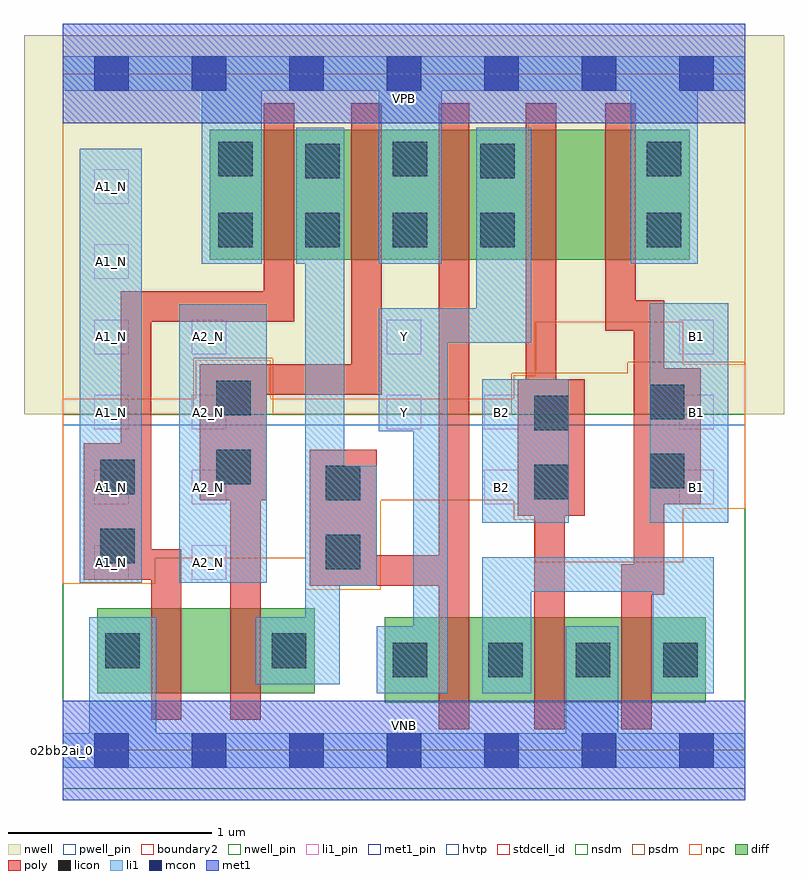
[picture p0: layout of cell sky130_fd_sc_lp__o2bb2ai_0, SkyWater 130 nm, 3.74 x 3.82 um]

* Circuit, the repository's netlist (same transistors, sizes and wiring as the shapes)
* Copyright 2020 The SkyWater PDK Authors
*
* Licensed under the Apache License, Version 2.0 (the "License");
* you may not use this file except in compliance with the License.
* You may obtain a copy of the License at
*
*     https://www.apache.org/licenses/LICENSE-2.0
*
* Unless required by applicable law or agreed to in writing, software
* distributed under the License is distributed on an "AS IS" BASIS,
* WITHOUT WARRANTIES OR CONDITIONS OF ANY KIND, either express or implied.
* See the License for the specific language governing permissions and
* limitations under the License.
*
* SPDX-License-Identifier: Apache-2.0

.SUBCKT sky130_fd_sc_lp__o2bb2ai_0 A1_N A2_N B1 B2 VGND VNB VPB VPWR Y
*.PININFO A1_N:I A2_N:I B1:I B2:I VGND:I VNB:I VPB:I VPWR:I Y:O
MMNnand0 VGND A1_N sndNA1N VNB sky130_fd_pr__nfet_01v8 m=1 w=0.42U l=0.15U mult=1
+ sa=0.265 sb=0.265 sd=0.28 area=0.063 perim=1.14
MMNnand1 sndNA1N A2_N inand VNB sky130_fd_pr__nfet_01v8 m=1 w=0.42U l=0.15U mult=1
+ sa=0.265 sb=0.265 sd=0.28 area=0.063 perim=1.14
MMNaoi10 nmid B1 VGND VNB sky130_fd_pr__nfet_01v8 m=1 w=0.42U l=0.15U mult=1 sa=0.265
+ sb=0.265 sd=0.28 area=0.063 perim=1.14
MMNaoi11 nmid B2 VGND VNB sky130_fd_pr__nfet_01v8 m=1 w=0.42U l=0.15U mult=1 sa=0.265
+ sb=0.265 sd=0.28 area=0.063 perim=1.14
MMNaoi20 Y inand nmid VNB sky130_fd_pr__nfet_01v8 m=1 w=0.42U l=0.15U mult=1 sa=0.265
+ sb=0.265 sd=0.28 area=0.063 perim=1.14
MMPnand0 inand A1_N VPWR VPB sky130_fd_pr__pfet_01v8_hvt m=1 w=0.64U l=0.15U mult=1
+ sa=0.265 sb=0.265 sd=0.28 area=0.063 perim=1.14
MMPnand1 inand A2_N VPWR VPB sky130_fd_pr__pfet_01v8_hvt m=1 w=0.64U l=0.15U mult=1
+ sa=0.265 sb=0.265 sd=0.28 area=0.063 perim=1.14
MMPaoi10 VPWR B1 sndPB1 VPB sky130_fd_pr__pfet_01v8_hvt m=1 w=0.64U l=0.15U mult=1
+ sa=0.265 sb=0.265 sd=0.28 area=0.063 perim=1.14
MMPaoi11 sndPB1 B2 Y VPB sky130_fd_pr__pfet_01v8_hvt m=1 w=0.64U l=0.15U mult=1
+ sa=0.265 sb=0.265 sd=0.28 area=0.063 perim=1.14
MMPaoi20 Y inand VPWR VPB sky130_fd_pr__pfet_01v8_hvt m=1 w=0.64U l=0.15U mult=1
+ sa=0.265 sb=0.265 sd=0.28 area=0.063 perim=1.14
.ENDS sky130_fd_sc_lp__o2bb2ai_0

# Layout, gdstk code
import gdstk
lib = gdstk.Library(unit=1e-6, precision=1e-09)
def R(c, l, rs):  # rectangles x0, y0, x1, y1
    for r in rs: c.add(gdstk.rectangle(r[:2], r[2:], *l))
def A(c, l, x, y, w, h, nx, ny, dx, dy):  # array of equal rectangles
    R(c, l, [(x+i*dx, y+j*dy, x+i*dx+w, y+j*dy+h) for i in range(nx) for j in range(ny)])
def P(c, l, *ps):  # polygons
    for p in ps: c.add(gdstk.Polygon(p, *l))
nwell_pin = (64, 16)
nwell = (64, 20)
diff = (65, 20)
poly = (66, 20)
licon = (66, 44)
li1_pin = (67, 16)
li1 = (67, 20)
mcon = (67, 44)
met1_pin = (68, 16)
met1 = (68, 20)
hvtp = (78, 44)
stdcell_id = (81, 4)
nsdm = (93, 44)
psdm = (94, 20)
npc = (95, 20)
pwell_pin = (122, 16)
boundary2 = (236, 0)

sky130_fd_sc_lp__o2bb2ai = lib.new_cell('sky130_fd_sc_lp__o2bb2ai_0')
R(sky130_fd_sc_lp__o2bb2ai, nwell_pin, [(0,3.085,3.36,3.33)])
R(sky130_fd_sc_lp__o2bb2ai, nwell, [(-0.19,1.655,3.55,3.52)])
R(sky130_fd_sc_lp__o2bb2ai, diff, [(1.585,0.235,3.165,0.655), (0.17,0.28,1.24,0.7), (0.725,2.415,3.085,3.055)])
P(sky130_fd_sc_lp__o2bb2ai, poly, [(1.14,3.185),(0.99,3.185),(0.99,2.26),(0.285,2.26),(0.285,1.51),(0.105,1.51),(0.105,0.84),(0.435,0.84),(0.435,0.15),(0.585,0.15),(0.585,0.99),(0.435,0.99),(0.435,2.11),(1.14,2.11)],
  [(1.57,3.185),(1.42,3.185),(1.42,1.9),(0.675,1.9),(0.675,1.23),(0.825,1.23),(0.825,0.15),(0.975,0.15),(0.975,1.23),(1.005,1.23),(1.005,1.75),(1.57,1.75)],
  [(2,3.185),(1.85,3.185),(1.85,0.96),(1.545,0.96),(1.545,1.48),(1.215,1.48),(1.215,0.81),(1.85,0.81),(1.85,0.105),(2,0.105)],
  [(2.57,1.825),(2.43,1.825),(2.43,3.185),(2.28,3.185),(2.28,1.825),(2.24,1.825),(2.24,1.155),(2.32,1.155),(2.32,0.105),(2.47,0.105),(2.47,1.155),(2.57,1.155)],
  [(3.14,1.88),(2.96,1.88),(2.96,2.215),(2.82,2.215),(2.82,3.185),(2.67,3.185),(2.67,2.065),(2.81,2.065),(2.81,0.915),(2.75,0.915),(2.75,0.105),(2.9,0.105),(2.9,0.765),(2.96,0.765),(2.96,1.21),(3.14,1.21)])
A(sky130_fd_sc_lp__o2bb2ai, licon, 2.095, 0.36, 0.17, 0.17, 3, 1, 0.43, 0)
A(sky130_fd_sc_lp__o2bb2ai, licon, 0.765, 2.475, 0.17, 0.17, 4, 1, 0.43, 0)
R(sky130_fd_sc_lp__o2bb2ai, licon, [(1.625,0.36,1.795,0.53), (0.21,0.405,0.38,0.575), (1.03,0.405,1.2,0.575), (1.295,0.89,1.465,1.06), (0.185,0.92,0.355,1.09), (1.295,1.23,1.465,1.4), (2.32,1.235,2.49,1.405), (0.185,1.26,0.355,1.43), (2.89,1.29,3.06,1.46), (0.755,1.31,0.925,1.48), (2.32,1.575,2.49,1.745), (2.89,1.63,3.06,1.8), (0.755,1.65,0.925,1.82), (2.875,2.475,3.045,2.645), (1.195,2.815,1.365,2.985), (2.055,2.815,2.225,2.985), (0.765,2.825,0.935,2.995), (1.625,2.825,1.795,2.995), (2.875,2.825,3.045,2.995)])
A(sky130_fd_sc_lp__o2bb2ai, li1_pin, 0.155, 0.84, 0.17, 0.17, 1, 6, 0, 0.37)
A(sky130_fd_sc_lp__o2bb2ai, li1_pin, 0.635, 0.84, 0.17, 0.17, 1, 4, 0, 0.37)
A(sky130_fd_sc_lp__o2bb2ai, li1_pin, 3.035, 1.21, 0.17, 0.17, 1, 3, 0, 0.37)
R(sky130_fd_sc_lp__o2bb2ai, li1_pin, [(2.075,1.21,2.245,1.38), (1.595,1.58,1.765,1.75), (2.075,1.58,2.245,1.75), (1.595,1.95,1.765,2.12)])
R(sky130_fd_sc_lp__o2bb2ai, li1, [(0.085,0.825,0.39,2.96), (0.575,0.825,1.005,2.195), (2.065,1.12,2.49,1.825), (2.89,1.12,3.275,2.2)])
P(sky130_fd_sc_lp__o2bb2ai, li1, [(2.795,2.395),(2.795,3.245),(1.865,3.245),(1.865,2.395),(1.555,2.395),(1.555,3.245),(0.98,3.245),(0.98,2.395),(0.685,2.395),(0.685,3.245),(0,3.245),(0,3.415),(3.36,3.415),(3.36,3.245),(3.125,3.245),(3.125,2.395)],
  [(0.13,0.085),(0.13,0.655),(0.46,0.655),(0.46,0.085),(2.475,0.085),(2.475,0.61),(2.735,0.61),(2.735,0.085),(3.36,0.085),(3.36,-0.085),(0,-0.085),(0,0.085)],
  [(2.035,2.175),(2.035,3.065),(2.305,3.065),(2.305,2.005),(1.895,2.005),(1.895,0.28),(1.545,0.28),(1.545,0.61),(1.725,0.61),(1.725,1.57),(1.555,1.57),(1.555,2.175)],
  [(2.905,0.28),(2.905,0.78),(2.305,0.78),(2.305,0.28),(2.065,0.28),(2.065,0.95),(3.205,0.95),(3.205,0.28)],
  [(1.385,1.4),(1.545,1.4),(1.545,0.81),(1.365,0.81),(1.365,0.325),(0.95,0.325),(0.95,0.655),(1.195,0.655),(1.195,2.395),(1.15,2.395),(1.15,3.065),(1.385,3.065)])
A(sky130_fd_sc_lp__o2bb2ai, mcon, 0.155, -0.085, 0.17, 0.17, 7, 2, 0.48, 3.33)
R(sky130_fd_sc_lp__o2bb2ai, met1_pin, [(0,0,3.36,0.245), (0,3.085,3.36,3.33)])
R(sky130_fd_sc_lp__o2bb2ai, met1, [(0,-0.245,3.36,0.245), (0,3.085,3.36,3.575)])
R(sky130_fd_sc_lp__o2bb2ai, hvtp, [(0,1.6,3.36,3.33)])
R(sky130_fd_sc_lp__o2bb2ai, stdcell_id, [(0,0,3.36,3.33)])
R(sky130_fd_sc_lp__o2bb2ai, nsdm, [(0,-0.19,3.36,1.655)])
P(sky130_fd_sc_lp__o2bb2ai, psdm, [(3.36,3.52),(0,3.52),(0,1.655),(0.645,1.655),(0.645,1.93),(1.035,1.93),(1.035,1.655),(2.21,1.655),(2.21,1.855),(2.78,1.855),(2.78,1.91),(3.36,1.91)])
P(sky130_fd_sc_lp__o2bb2ai, npc, [(3.36,1.9),(3.055,1.9),(3.055,2.11),(2.325,2.11),(2.325,1.845),(2.22,1.845),(2.22,1.73),(1.025,1.73),(1.025,1.92),(0.655,1.92),(0.655,1.73),(0,1.73),(0,0.82),(0.455,0.82),(0.455,0.945),(1.195,0.945),(1.195,0.79),(1.565,0.79),(1.565,1.23),(2.22,1.23),(2.22,1.135),(2.325,1.135),(2.325,0.925),(3.055,0.925),(3.055,1.19),(3.36,1.19)])
R(sky130_fd_sc_lp__o2bb2ai, pwell_pin, [(0,0,3.36,0.245)])
R(sky130_fd_sc_lp__o2bb2ai, boundary2, [(0,0,3.36,3.33)])
sky130_fd_sc_lp__o2bb2ai.add(gdstk.Label('VNB', (1.68,0.123), layer=64, texttype=59))
sky130_fd_sc_lp__o2bb2ai.add(gdstk.Label('VPB', (1.68,3.208), layer=64, texttype=5))
sky130_fd_sc_lp__o2bb2ai.add(gdstk.Label('o2bb2ai_0', (0,0), layer=83, texttype=44))
sky130_fd_sc_lp__o2bb2ai.add(gdstk.Label('VPWR', (1.68,3.208), layer=68, texttype=5))
sky130_fd_sc_lp__o2bb2ai.add(gdstk.Label('VGND', (1.68,0.123), layer=68, texttype=5))
sky130_fd_sc_lp__o2bb2ai.add(gdstk.Label('A2_N', (0.72,0.925), layer=67, texttype=5))
sky130_fd_sc_lp__o2bb2ai.add(gdstk.Label('A2_N', (0.72,1.295), layer=67, texttype=5))
sky130_fd_sc_lp__o2bb2ai.add(gdstk.Label('A2_N', (0.72,1.665), layer=67, texttype=5))
sky130_fd_sc_lp__o2bb2ai.add(gdstk.Label('A2_N', (0.72,2.035), layer=67, texttype=5))
sky130_fd_sc_lp__o2bb2ai.add(gdstk.Label('B1', (3.12,1.295), layer=67, texttype=5))
sky130_fd_sc_lp__o2bb2ai.add(gdstk.Label('B1', (3.12,1.665), layer=67, texttype=5))
sky130_fd_sc_lp__o2bb2ai.add(gdstk.Label('B1', (3.12,2.035), layer=67, texttype=5))
sky130_fd_sc_lp__o2bb2ai.add(gdstk.Label('Y', (1.68,1.665), layer=67, texttype=5))
sky130_fd_sc_lp__o2bb2ai.add(gdstk.Label('Y', (1.68,2.035), layer=67, texttype=5))
sky130_fd_sc_lp__o2bb2ai.add(gdstk.Label('B2', (2.16,1.295), layer=67, texttype=5))
sky130_fd_sc_lp__o2bb2ai.add(gdstk.Label('B2', (2.16,1.665), layer=67, texttype=5))
sky130_fd_sc_lp__o2bb2ai.add(gdstk.Label('A1_N', (0.24,0.925), layer=67, texttype=5))
sky130_fd_sc_lp__o2bb2ai.add(gdstk.Label('A1_N', (0.24,1.295), layer=67, texttype=5))
sky130_fd_sc_lp__o2bb2ai.add(gdstk.Label('A1_N', (0.24,1.665), layer=67, texttype=5))
sky130_fd_sc_lp__o2bb2ai.add(gdstk.Label('A1_N', (0.24,2.035), layer=67, texttype=5))
sky130_fd_sc_lp__o2bb2ai.add(gdstk.Label('A1_N', (0.24,2.405), layer=67, texttype=5))
sky130_fd_sc_lp__o2bb2ai.add(gdstk.Label('A1_N', (0.24,2.775), layer=67, texttype=5))

lib.write_gds('sky130_fd_sc_lp__o2bb2ai_0.gds')
